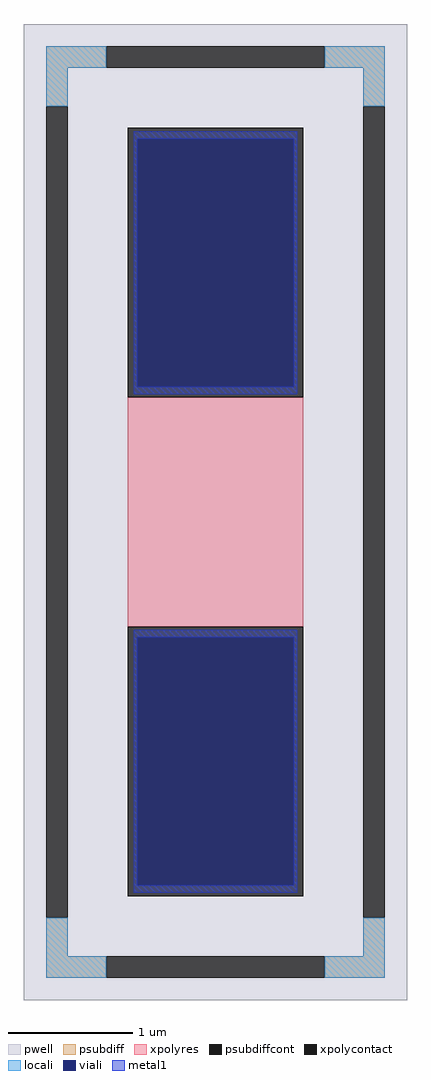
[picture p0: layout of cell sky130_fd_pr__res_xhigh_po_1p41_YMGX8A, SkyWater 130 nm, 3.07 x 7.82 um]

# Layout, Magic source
magic
tech sky130A
magscale 1 2
<< pwell >>
rect -307 -782 307 782
<< psubdiff >>
rect -271 712 -175 746
rect 175 712 271 746
rect -271 650 -237 712
rect 237 650 271 712
rect -271 -712 -237 -650
rect 237 -712 271 -650
rect -271 -746 -175 -712
rect 175 -746 271 -712
<< psubdiffcont >>
rect -175 712 175 746
rect -271 -650 -237 650
rect 237 -650 271 650
rect -175 -746 175 -712
<< xpolycontact >>
rect -141 184 141 616
rect -141 -616 141 -184
<< xpolyres >>
rect -141 -184 141 184
<< locali >>
rect -271 712 -175 746
rect 175 712 271 746
rect -271 650 -237 712
rect 237 650 271 712
rect -271 -712 -237 -650
rect 237 -712 271 -650
rect -271 -746 -175 -712
rect 175 -746 271 -712
<< viali >>
rect -125 201 125 598
rect -125 -598 125 -201
<< metal1 >>
rect -131 598 131 610
rect -131 201 -125 598
rect 125 201 131 598
rect -131 189 131 201
rect -131 -201 131 -189
rect -131 -598 -125 -201
rect 125 -598 131 -201
rect -131 -610 131 -598
<< properties >>
string FIXED_BBOX -254 -729 254 729
string gencell sky130_fd_pr__res_xhigh_po_1p41
string library sky130
string parameters w 1.410 l 2 m 1 nx 1 wmin 1.410 lmin 0.50 class resistor rho 2000 val 3.103k dummy 0 dw 0.0 term 188.2 sterm 0.0 caplen 0 wmax 1.410 guard 1 glc 1 grc 1 gtc 1 gbc 1 compatible {sky130_fd_pr__res_xhigh_po_0p35  sky130_fd_pr__res_xhigh_po_0p69 sky130_fd_pr__res_xhigh_po_1p41  sky130_fd_pr__res_xhigh_po_2p85 sky130_fd_pr__res_xhigh_po_5p73} snake 0 full_metal 1 n_guard 0 hv_guard 0 vias 1 viagb 0 viagt 0 viagl 0 viagr 0
<< end >>
